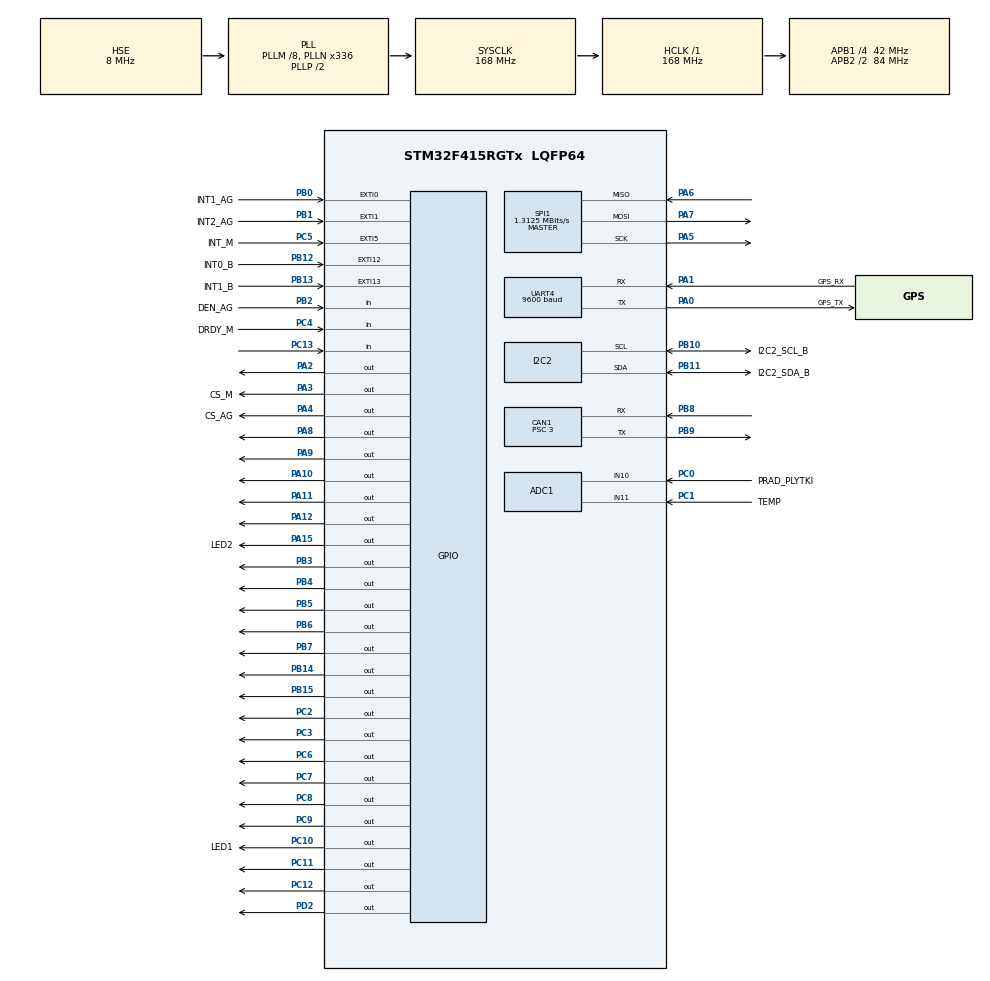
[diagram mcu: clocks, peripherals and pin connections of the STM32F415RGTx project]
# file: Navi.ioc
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ADC1.Channel-0\#ChannelRegularConversion=ADC_CHANNEL_10
ADC1.NbrOfConversionFlag=1
ADC1.Rank-0\#ChannelRegularConversion=1
ADC1.SamplingTime-0\#ChannelRegularConversion=ADC_SAMPLETIME_3CYCLES
ADC1.master=1
CAN1.BS1=CAN_BS1_11TQ
CAN1.BS2=CAN_BS2_2TQ
CAN1.CalculateTimeBit=1000
CAN1.CalculateTimeQuantum=71.42857142857143
CAN1.Mode=CAN_MODE_LOOPBACK
CAN1.Prescaler=3
Mcu.Family=STM32F4
Mcu.Name=STM32F415RGTx
Mcu.Package=LQFP64
NVIC.CAN1_RX0_IRQn=true\:0\:0\:false\:false\:true\:true
NVIC.PriorityGroup=NVIC_PRIORITYGROUP_4
NVIC.UART4_IRQn=true\:0\:0\:false\:false\:true\:true
PA0-WKUP.GPIO_Label=GPS_TX
PA0-WKUP.Mode=Asynchronous
PA0-WKUP.Signal=UART4_TX
PA1.GPIO_Label=GPS_RX
PA1.Mode=Asynchronous
PA1.Signal=UART4_RX
PA10.Signal=GPIO_Output
PA11.Signal=GPIO_Output
PA12.Signal=GPIO_Output
PA13.Mode=Serial_Wire
PA13.Signal=SYS_JTMS-SWDIO
PA14.Mode=Serial_Wire
PA14.Signal=SYS_JTCK-SWCLK
PA15.GPIO_Label=LED2
PA15.Signal=GPIO_Output
PA2.Signal=GPIO_Output
PA3.GPIO_Label=CS_M
PA3.Signal=GPIO_Output
PA4.GPIO_Label=CS_AG
PA4.Signal=GPIO_Output
PA5.Mode=Full_Duplex_Master
PA5.Signal=SPI1_SCK
PA6.Mode=Full_Duplex_Master
PA6.Signal=SPI1_MISO
PA7.Mode=Full_Duplex_Master
PA7.Signal=SPI1_MOSI
PA8.Signal=GPIO_Output
PA9.Signal=GPIO_Output
PB0.GPIO_Label=INT1_AG
PB0.Signal=GPXTI0
PB1.GPIO_Label=INT2_AG
PB1.Signal=GPXTI1
PB10.GPIO_Label=I2C2_SCL_B
PB10.Mode=I2C
PB10.Signal=I2C2_SCL
PB11.GPIO_Label=I2C2_SDA_B
PB11.Mode=I2C
PB11.Signal=I2C2_SDA
PB12.GPIO_Label=INT0_B
PB12.Signal=GPXTI12
PB13.GPIO_Label=INT1_B
PB13.Signal=GPXTI13
PB14.Signal=GPIO_Output
PB15.Signal=GPIO_Output
PB2.GPIO_Label=DEN_AG
PB2.Signal=GPIO_Input
PB3.Signal=GPIO_Output
PB4.Signal=GPIO_Output
PB5.Signal=GPIO_Output
PB6.Signal=GPIO_Output
PB7.Signal=GPIO_Output
PB8.Mode=Master
PB8.Signal=CAN1_RX
PB9.Mode=Master
PB9.Signal=CAN1_TX
PC0.GPIO_Label=PRAD_PLYTKI
PC0.Signal=ADCx_IN10
PC1.GPIO_Label=TEMP
PC1.Signal=ADCx_IN11
PC10.GPIO_Label=LED1
PC10.Signal=GPIO_Output
PC11.Signal=GPIO_Output
PC12.Signal=GPIO_Output
PC13-ANTI_TAMP.Signal=GPIO_Input
PC14-OSC32_IN.Mode=LSE-External-Oscillator
PC14-OSC32_IN.Signal=RCC_OSC32_IN
PC15-OSC32_OUT.Mode=LSE-External-Oscillator
PC15-OSC32_OUT.Signal=RCC_OSC32_OUT
PC2.Signal=GPIO_Output
PC3.Signal=GPIO_Output
PC4.GPIO_Label=DRDY_M
PC4.Signal=GPIO_Input
PC5.GPIO_Label=INT_M
PC5.Signal=GPXTI5
PC6.Signal=GPIO_Output
PC7.Signal=GPIO_Output
PC8.Signal=GPIO_Output
PC9.Signal=GPIO_Output
PD2.Signal=GPIO_Output
PH0-OSC_IN.Mode=HSE-External-Oscillator
PH0-OSC_IN.Signal=RCC_OSC_IN
PH1-OSC_OUT.Mode=HSE-External-Oscillator
PH1-OSC_OUT.Signal=RCC_OSC_OUT
ProjectManager.HeapSize=0x200
ProjectManager.StackSize=0x400
ProjectManager.TargetToolchain=TrueSTUDIO
RCC.48MHZClocksFreq_Value=84000000
RCC.AHBFreq_Value=168000000
RCC.APB1CLKDivider=RCC_HCLK_DIV4
RCC.APB1Freq_Value=42000000
RCC.APB1TimFreq_Value=84000000
RCC.APB2CLKDivider=RCC_HCLK_DIV2
RCC.APB2Freq_Value=84000000
RCC.APB2TimFreq_Value=168000000
RCC.CortexFreq_Value=168000000
RCC.HCLKFreq_Value=168000000
RCC.HSE_VALUE=8000000
RCC.HSI_VALUE=16000000
RCC.PLLM=8
RCC.PLLN=336
RCC.PLLSourceVirtual=RCC_PLLSOURCE_HSE
RCC.SYSCLKFreq_VALUE=168000000
RCC.SYSCLKSource=RCC_SYSCLKSOURCE_PLLCLK
RCC.VCOOutputFreq_Value=336000000
SH.ADCx_IN10.0=ADC1_IN10,IN10
SH.ADCx_IN11.0=ADC1_IN11,IN11
SPI1.BaudRatePrescaler=SPI_BAUDRATEPRESCALER_64
SPI1.CalculateBaudRate=1.3125 MBits/s
SPI1.Direction=SPI_DIRECTION_2LINES
SPI1.Mode=SPI_MODE_MASTER
SPI1.VirtualType=VM_MASTER
UART4.BaudRate=9600
UART4.VirtualMode=Asynchronous
board=Navi

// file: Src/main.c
/**
  ******************************************************************************
  * File Name          : main.c
  * Description        : Main program body
  ******************************************************************************
  ** This notice applies to any and all portions of this file
  * that are not between comment pairs USER CODE BEGIN and
  * USER CODE END. Other portions of this file, whether
  * inserted by the user or by software development tools
  * are owned by their respective copyright owners.
  *
  * COPYRIGHT(c) 2018 STMicroelectronics
  *
  * Redistribution and use in source and binary forms, with or without modification,
  * are permitted provided that the following conditions are met:
  *   1. Redistributions of source code must retain the above copyright notice,
  *      this list of conditions and the following disclaimer.
  *   2. Redistributions in binary form must reproduce the above copyright notice,
  *      this list of conditions and the following disclaimer in the documentation
  *      and/or other materials provided with the distribution.
  *   3. Neither the name of STMicroelectronics nor the names of its contributors
  *      may be used to endorse or promote products derived from this software
  *      without specific prior written permission.
  *
  * THIS SOFTWARE IS PROVIDED BY THE COPYRIGHT HOLDERS AND CONTRIBUTORS "AS IS"
  * AND ANY EXPRESS OR IMPLIED WARRANTIES, INCLUDING, BUT NOT LIMITED TO, THE
  * IMPLIED WARRANTIES OF MERCHANTABILITY AND FITNESS FOR A PARTICULAR PURPOSE ARE
  * DISCLAIMED. IN NO EVENT SHALL THE COPYRIGHT HOLDER OR CONTRIBUTORS BE LIABLE
  * FOR ANY DIRECT, INDIRECT, INCIDENTAL, SPECIAL, EXEMPLARY, OR CONSEQUENTIAL
  * DAMAGES (INCLUDING, BUT NOT LIMITED TO, PROCUREMENT OF SUBSTITUTE GOODS OR
  * SERVICES; LOSS OF USE, DATA, OR PROFITS; OR BUSINESS INTERRUPTION) HOWEVER
  * CAUSED AND ON ANY THEORY OF LIABILITY, WHETHER IN CONTRACT, STRICT LIABILITY,
  * OR TORT (INCLUDING NEGLIGENCE OR OTHERWISE) ARISING IN ANY WAY OUT OF THE USE
  * OF THIS SOFTWARE, EVEN IF ADVISED OF THE POSSIBILITY OF SUCH DAMAGE.
  *
  ******************************************************************************
  */
#include "main.h"
#include "stm32f4xx_hal.h"
#include "adc.h"
#include "can.h"
#include "i2c.h"
#include "spi.h"
#include "usart.h"
#include "gpio.h"

/* USER CODE BEGIN Includes */
#include "stdint.h"
#include "gps.h"
#include "imu.h"
#include "barometr.h"
#include "communication.h"
/* USER CODE END Includes */

/* USER CODE BEGIN PV */
/* Private variables ---------------------------------------------------------*/
volatile uint8_t uart_new_data;
volatile uint8_t can_new_data = 0;
uint8_t uart_received = 0;
/* USER CODE END PV */

void SystemClock_Config(void);

/* USER CODE BEGIN PFP */
/* Private function prototypes -----------------------------------------------*/
void HAL_UART_RxCpltCallback(UART_HandleTypeDef *huart);
void HAL_CAN_RxCpltCallback(CAN_HandleTypeDef* hcan);

void HAL_UART_RxCpltCallback(UART_HandleTypeDef *huart)
{
	uart_new_data = 1;
	HAL_UART_Receive_IT(&huart4, &uart_received, 1);
}

void HAL_CAN_RxCpltCallback(CAN_HandleTypeDef* hcan)
{
	can_new_data = 1;
	HAL_CAN_Receive_IT(&hcan1, CAN_FIFO0);
}
/* USER CODE END PFP */

int main(void)
{

  /* MCU Configuration----------------------------------------------------------*/

  /* Reset of all peripherals, Initializes the Flash interface and the Systick. */
  HAL_Init();

  /* Configure the system clock */
  SystemClock_Config();

  /* Initialize all configured peripherals */
  MX_GPIO_Init();
  MX_CAN1_Init();
  MX_ADC1_Init();
  MX_I2C2_Init();
  MX_SPI1_Init();
  MX_UART4_Init();

  /* USER CODE BEGIN 2 */

  GPS_Init();
  IMU_Init();
  //CAN_Init();

  // enable interrupt on receiving
  HAL_UART_Receive_IT(&huart4, &uart_received, 1);
  //HAL_CAN_Receive_IT(&hcan1, CAN_FIFO0);

  /* USER CODE END 2 */

  /* Infinite loop */
  /* USER CODE BEGIN WHILE */
  can_new_data = 1;

  while (1)
  {
	  if(uart_new_data)
	  {
		  My_UART4_Handler(uart_received);
		  uart_new_data = 0;
	  }

	  if(can_new_data)
	  {
		  can_new_data = 0;
		  My_CAN_Handler();
	  }

	  IMU_GetAllData();
	  HAL_Delay(100);
	  can_new_data = 1;

	  /*
	  BAR_StartConversion();
	  HAL_Delay(100);
	  BAR_ReadTemperature();
	  HAL_Delay(100);
	  */

  /* USER CODE END WHILE */

  }

}

/** System Clock Configuration
*/
void SystemClock_Config(void)
{

  RCC_OscInitTypeDef RCC_OscInitStruct;
  RCC_ClkInitTypeDef RCC_ClkInitStruct;

    /**Configure the main internal regulator output voltage
    */
  __HAL_RCC_PWR_CLK_ENABLE();

  __HAL_PWR_VOLTAGESCALING_CONFIG(PWR_REGULATOR_VOLTAGE_SCALE1);

    /**Initializes the CPU, AHB and APB busses clocks
    */
  RCC_OscInitStruct.OscillatorType = RCC_OSCILLATORTYPE_HSE;
  RCC_OscInitStruct.HSEState = RCC_HSE_ON;
  RCC_OscInitStruct.PLL.PLLState = RCC_PLL_ON;
  RCC_OscInitStruct.PLL.PLLSource = RCC_PLLSOURCE_HSE;
  RCC_OscInitStruct.PLL.PLLM = 8;
  RCC_OscInitStruct.PLL.PLLN = 336;
  RCC_OscInitStruct.PLL.PLLP = RCC_PLLP_DIV2;
  RCC_OscInitStruct.PLL.PLLQ = 4;
  if (HAL_RCC_OscConfig(&RCC_OscInitStruct) != HAL_OK)
  {
    _Error_Handler(__FILE__, __LINE__);
  }

    /**Initializes the CPU, AHB and APB busses clocks
    */
  RCC_ClkInitStruct.ClockType = RCC_CLOCKTYPE_HCLK|RCC_CLOCKTYPE_SYSCLK
                              |RCC_CLOCKTYPE_PCLK1|RCC_CLOCKTYPE_PCLK2;
  RCC_ClkInitStruct.SYSCLKSource = RCC_SYSCLKSOURCE_PLLCLK;
  RCC_ClkInitStruct.AHBCLKDivider = RCC_SYSCLK_DIV1;
  RCC_ClkInitStruct.APB1CLKDivider = RCC_HCLK_DIV4;
  RCC_ClkInitStruct.APB2CLKDivider = RCC_HCLK_DIV2;

  if (HAL_RCC_ClockConfig(&RCC_ClkInitStruct, FLASH_LATENCY_5) != HAL_OK)
  {
    _Error_Handler(__FILE__, __LINE__);
  }

    /**Configure the Systick interrupt time
    */
  HAL_SYSTICK_Config(HAL_RCC_GetHCLKFreq()/1000);

    /**Configure the Systick
    */
  HAL_SYSTICK_CLKSourceConfig(SYSTICK_CLKSOURCE_HCLK);

  /* SysTick_IRQn interrupt configuration */
  HAL_NVIC_SetPriority(SysTick_IRQn, 0, 0);
}

void _Error_Handler(char * file, int line)
{
  while(1)
  {
  }
}

/************************ (C) COPYRIGHT STMicroelectronics *****END OF FILE****/
